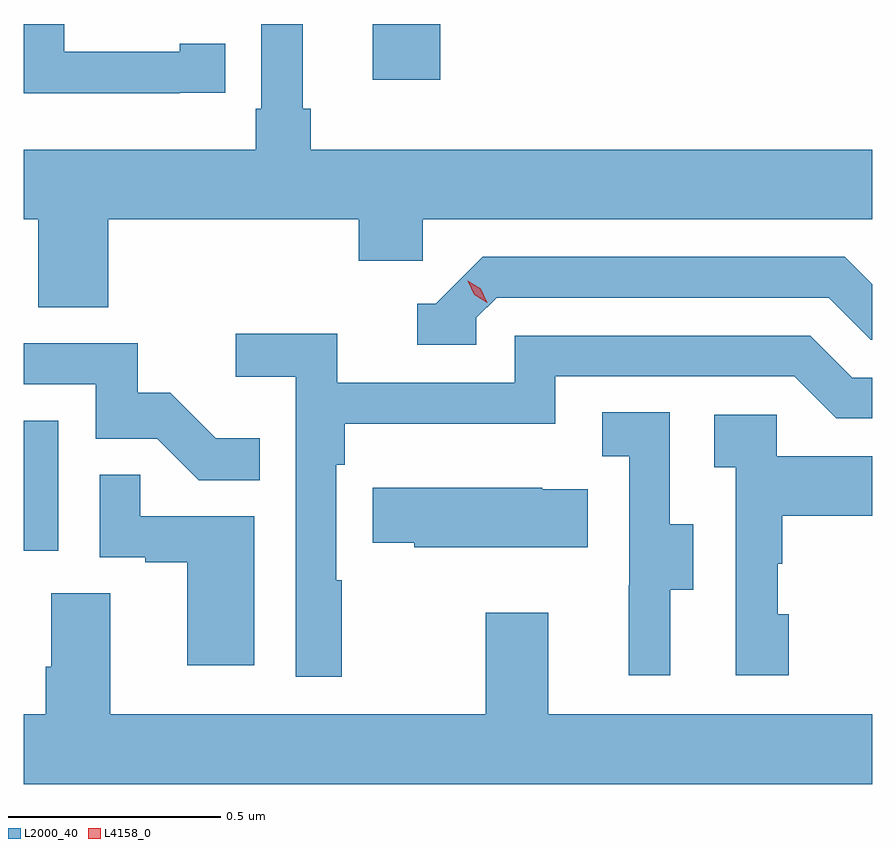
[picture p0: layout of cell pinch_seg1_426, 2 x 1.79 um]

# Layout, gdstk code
import gdstk
lib = gdstk.Library(unit=1e-6, precision=1e-09)
def R(c, l, rs):  # rectangles x0, y0, x1, y1
    for r in rs: c.add(gdstk.rectangle(r[:2], r[2:], *l))
def P(c, l, *ps):  # polygons
    for p in ps: c.add(gdstk.Polygon(p, *l))
L2000_40 = (2000, 40)
L4158_0 = (4158, 0)

pinch_seg1_426 = lib.new_cell('pinch_seg1_426')
R(pinch_seg1_426, L2000_40, [(912.877,529.638,912.958,529.945), (913.7,530.748,913.859,530.88)])
P(pinch_seg1_426, L2000_40, [(913.076,530.42),(913.667,530.42),(913.667,530.322),(913.818,530.322),(913.818,530.42),(914.877,530.42),(914.877,530.584),(913.553,530.584),(913.553,530.68),(913.534,530.68),(913.534,530.88),(913.437,530.88),(913.437,530.68),(913.424,530.68),(913.424,530.584),(912.877,530.584),(912.877,530.42),(912.911,530.42),(912.911,530.212),(913.076,530.212)],
  [(913.244,530.718),(913.352,530.718),(913.352,530.834),(913.244,530.834),(913.244,530.814),(912.972,530.814),(912.972,530.88),(912.877,530.88),(912.877,530.717),(913.244,530.717)],
  [(913.944,530.187),(913.992,530.235),(914.775,530.235),(914.874,530.136),(914.877,530.136),(914.877,530.266),(914.812,530.331),(913.959,530.331),(913.848,530.22),(913.805,530.22),(913.805,530.124),(913.944,530.124)],
  [(913.627,529.568),(913.614,529.568),(913.614,529.841),(913.634,529.841),(913.634,529.937),(914.13,529.937),(914.13,530.049),(914.694,530.049),(914.793,529.95),(914.877,529.95),(914.877,530.046),(914.83,530.046),(914.731,530.145),(914.034,530.145),(914.034,530.034),(913.616,530.034),(913.616,530.15),(913.377,530.15),(913.377,530.048),(913.518,530.048),(913.518,529.341),(913.627,529.341)],
  [(913.433,529.903),(913.329,529.903),(913.222,530.01),(913.146,530.01),(913.146,530.127),(912.877,530.127),(912.877,530.031),(913.047,530.031),(913.047,529.902),(913.191,529.902),(913.289,529.804),(913.433,529.804)],
  [(914.401,529.546),(914.455,529.546),(914.455,529.701),(914.4,529.701),(914.4,529.964),(914.241,529.964),(914.241,529.861),(914.304,529.861),(914.304,529.557),(914.303,529.557),(914.303,529.344),(914.401,529.344)],
  [(914.68,529.488),(914.655,529.488),(914.655,529.607),(914.665,529.607),(914.665,529.721),(914.877,529.721),(914.877,529.861),(914.652,529.861),(914.652,529.959),(914.505,529.959),(914.505,529.835),(914.556,529.835),(914.556,529.344),(914.68,529.344)],
  [(913.42,529.719),(913.151,529.719),(913.151,529.817),(913.056,529.817),(913.056,529.623),(913.163,529.623),(913.163,529.611),(913.262,529.611),(913.262,529.368),(913.42,529.368)],
  [(914.207,529.783),(914.099,529.783),(914.099,529.786),(913.699,529.786),(913.699,529.657),(913.797,529.657),(913.797,529.646),(914.207,529.646)],
  [(914.877,529.252),(914.113,529.252),(914.113,529.492),(913.966,529.492),(913.966,529.252),(913.081,529.252),(913.081,529.538),(912.941,529.538),(912.941,529.364),(912.929,529.364),(912.929,529.252),(912.877,529.252),(912.877,529.088),(914.877,529.088)])
P(pinch_seg1_426, L4158_0, [(913.97,530.223),(913.939,530.242),(913.923,530.275),(913.923,530.275),(913.923,530.275),(913.954,530.256),(913.97,530.223),(913.97,530.223)])

lib.write_gds('pinch_seg1_426.gds')
